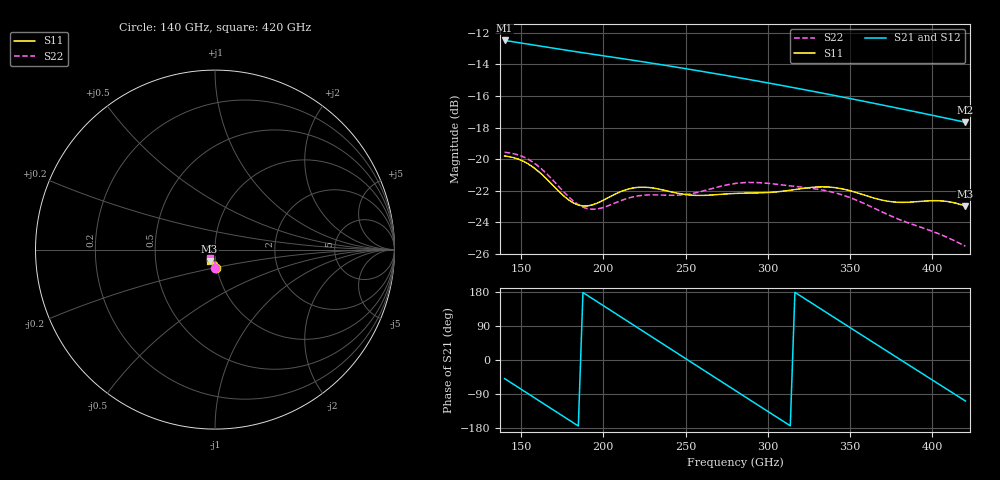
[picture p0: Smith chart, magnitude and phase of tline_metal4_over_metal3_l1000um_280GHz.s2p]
#  GHZ S DB R 50
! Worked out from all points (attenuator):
!   101 points, 140 GHz to 420 GHz, reference 50 ohm
!   highest |S21| = -12.48 dB at 140 GHz (marker M1); lowest = -17.7 dB at 420 GHz (marker M2)
!   lowest |S11| = -23.0 dB at 420 GHz (marker M3), VSWR 1.15, Z = 46.7 - j6.03 ohm
!   |S11| at or under -10 dB: start of sweep to end of sweep
!   |S22| runs from -25.5 to -19.6 dB; largest |S21 - S12| = 2.2e-13
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140  -19.80 -86.3  -12.48 -49.1  -12.48 -49.1  -19.57 -89.2
151.2  -20.12 -89.9  -12.67 -80.4  -12.67 -80.4  -19.85 -93.1
162.4  -20.95 -93.6  -12.85 -111.7  -12.85 -111.7  -20.62 -97.7
176.4  -22.37 -92.8  -13.08 -150.7  -13.08 -150.7  -22.12 -99.0
187.6  -22.97 -87.2  -13.26 178.0  -13.26 178.0  -23.04 -94.4
198.8  -22.67 -82.5  -13.44 146.8  -13.44 146.8  -23.10 -88.9
212.8  -21.97 -83.0  -13.66 107.7  -13.66 107.7  -22.55 -87.0
224  -21.78 -86.2  -13.83 76.3  -13.83 76.3  -22.29 -88.6
235.2  -21.93 -89.1  -14.02 45.0  -14.02 45.0  -22.28 -90.2
254.8  -22.29 -90.5  -14.35 -9.7  -14.35 -9.7  -22.16 -91.1
268.8  -22.25 -90.9  -14.60 -48.8  -14.60 -48.8  -21.79 -93.0
280  -22.17 -92.1  -14.80 -80.1  -14.80 -80.1  -21.54 -96.1
291.2  -22.14 -93.4  -15.01 -111.3  -15.01 -111.3  -21.48 -99.8
305.2  -22.07 -94.8  -15.27 -150.3  -15.27 -150.3  -21.59 -104.2
316.4  -21.93 -96.3  -15.49 178.6  -15.49 178.6  -21.73 -107.1
327.6  -21.78 -98.8  -15.71 147.4  -15.71 147.4  -21.87 -110.2
338.8  -21.78 -102.2  -15.94 116.3  -15.94 116.3  -22.08 -113.5
350  -22.00 -105.4  -16.17 85.3  -16.17 85.3  -22.44 -116.8
375.2  -22.70 -107.7  -16.69 15.5  -16.69 15.5  -23.62 -120.7
386.4  -22.72 -107.8  -16.93 -15.4  -16.93 -15.4  -24.08 -120.9
400.4  -22.63 -109.9  -17.23 -54.1  -17.23 -54.1  -24.59 -121.0
420  -22.98 -115.2  -17.66 -108.1  -17.66 -108.1  -25.51 -119.8
